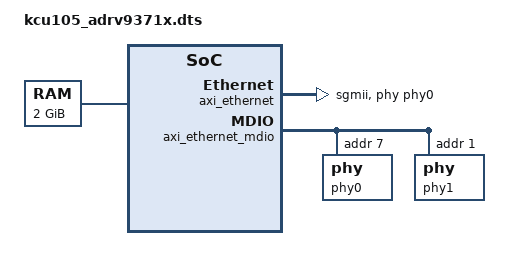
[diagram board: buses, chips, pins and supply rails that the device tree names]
/dts-v1/;
/include/ "kcu105_adrv9371x_pl.dtsi"

/ {
	chosen {
		bootargs = "console=ttyUL0,115200";
		linux,stdout-path = &axi_uart;
		stdout-path = &axi_uart;
	};
	aliases {
		ethernet0 = &axi_ethernet;
		i2c0 = &axi_iic_main;
		serial0 = &axi_uart;
		serial1 = &sys_mb_debug;
		fmc_spi = &axi_spi;
	};
	memory {
		device_type = "memory";
		reg = <0x80000000 0x80000000>;
	};
};

&axi_ethernet {
	local-mac-address = [00 0a 35 00 00 01];
	phy-handle = <&phy0 &phy1>;
	phy-mode = "sgmii";
};

&axi_ethernet_mdio {
	phy0: phy@7 {
		device_type = "ethernet-phy";
		reg = <7>;
	};
	phy1: phy@1 {
		device_type = "ethernet-phy";
		reg = <1>;
	};
};

&axi_ad9371_core_rx {
	dmas = <&rx_dma 0>;
	dma-names = "rx";
	spibus-connected = <&trx0_ad9371>;
};
&axi_ad9371_core_rx_obs {
	dmas = <&rx_obs_dma 0>;
	dma-names = "rx";
	clocks = <&trx0_ad9371 1>;
	clock-names = "sampl_clk";
};
&axi_ad9371_core_tx {
	dmas = <&tx_dma 0>;
	dma-names = "tx";
	clocks = <&trx0_ad9371 2>;
	clock-names = "sampl_clk";
	spibus-connected = <&trx0_ad9371>;
	adi,axi-pl-fifo-enable;
};
&rx_dma {
	#dma-cells = <1>;
	clocks = <&clk_bus_0>;
	dma-channel {
		adi,buswidth = <64>;
		adi,type = <0>;
	};
};
&rx_obs_dma  {
	#dma-cells = <1>;
	clocks = <&clk_bus_0>;
	dma-channel {
		adi,buswidth = <64>;
		adi,type = <0>;
	};
};
&tx_dma {
	#dma-cells = <1>;
	clocks = <&clk_bus_0>;
	dma-channel {
		adi,buswidth = <128>;
		adi,type = <1>;
		adi,cyclic;
	};
};
&axi_rx_clkgen {
	#clock-cells = <0>;
	clocks = <&clk0_ad9528 1>;
	clock-output-names = "axi_rx_clkgen";
};
&axi_rx_os_clkgen {
	#clock-cells = <0>;
	clocks = <&clk0_ad9528 1>;
	clock-output-names = "axi_rx_os_clkgen";
};
&axi_tx_clkgen {
	#clock-cells = <0>;
	clocks = <&clk0_ad9528 1>;
	clock-output-names = "axi_tx_clkgen";
};
&axi_ad9371_adxcvr_rx {
	clocks = <&clk0_ad9528 1>, <&axi_rx_clkgen 0>;
	clock-names = "conv", "div40";
	#clock-cells = <1>;
	clock-output-names = "rx_gt_clk", "rx_out_clk";
	adi,sys-clk-select = <0>;
	adi,out-clk-select = <3>;
	adi,use-lpm-enable;
	adi,use-cpll-enable;
};
&axi_ad9371_adxcvr_rx_os {
	clocks = <&clk0_ad9528 1>, <&axi_rx_os_clkgen>;
	clock-names = "conv", "div40";
	#clock-cells = <1>;
	clock-output-names = "rx_os_gt_clk", "rx_os_out_clk";
	adi,sys-clk-select = <0>;
	adi,out-clk-select = <3>;
	adi,use-lpm-enable;
	adi,use-cpll-enable;
};
&axi_ad9371_adxcvr_tx {
	clocks = <&clk0_ad9528 1>, <&axi_tx_clkgen>;
	clock-names = "conv", "div40";
	#clock-cells = <1>;
	clock-output-names = "tx_gt_clk", "tx_out_clk";
	adi,sys-clk-select = <3>;
	adi,out-clk-select = <3>;
};
&axi_ad9371_rx_jesd {
	clocks = <&clk_bus_0>, <&axi_rx_clkgen>, <&axi_ad9371_adxcvr_rx 0>;
	clock-names = "s_axi_aclk", "device_clk", "lane_clk";
	#clock-cells = <0>;
	clock-output-names = "jesd_rx_lane_clk";
	adi,octets-per-frame = <4>;
	adi,frames-per-multiframe = <32>;
};
&axi_ad9371_rx_os_jesd {
	clocks = <&clk_bus_0>, <&axi_rx_os_clkgen>, <&axi_ad9371_adxcvr_rx_os 0>;
	clock-names = "s_axi_aclk", "device_clk", "lane_clk";
	#clock-cells = <0>;
	clock-output-names = "jesd_rx_os_lane_clk";
	adi,octets-per-frame = <2>;
	adi,frames-per-multiframe = <32>;
};
&axi_ad9371_tx_jesd {
	clocks = <&clk_bus_0>, <&axi_tx_clkgen>, <&axi_ad9371_adxcvr_tx 0>;
	clock-names = "s_axi_aclk", "device_clk", "lane_clk";
	#clock-cells = <0>;
	clock-output-names = "jesd_tx_lane_clk";
	adi,octets-per-frame = <2>;
	adi,frames-per-multiframe = <32>;
	adi,converter-resolution = <14>;
	adi,bits-per-sample = <16>;
	adi,converters-per-device = <4>;
	adi,control-bits-per-sample = <2>;
};

#define fmc_spi axi_spi
#include "adi-adrv9371.dtsi"

// ad9371_dac_fifo_bypass_s 60
// ad9528_reset_b,       // 59
// ad9528_sysref_req,    // 58
// ad9371_tx1_enable,    // 57
// ad9371_tx2_enable,    // 56
// ad9371_rx1_enable,    // 55
// ad9371_rx2_enable,    // 54
// ad9371_test,          // 53
// ad9371_reset_b,       // 52
// ad9371_gpint,         // 51
// ad9371_gpio_00,       // 50
// ad9371_gpio_01,       // 49
// ad9371_gpio_02,       // 48
// ad9371_gpio_03,       // 47
// ad9371_gpio_04,       // 46
// ad9371_gpio_05,       // 45
// ad9371_gpio_06,       // 44
// ad9371_gpio_07,       // 43
// ad9371_gpio_15,       // 42
// ad9371_gpio_08,       // 41
// ad9371_gpio_09,       // 40
// ad9371_gpio_10,       // 39
// ad9371_gpio_11,       // 38
// ad9371_gpio_12,       // 37
// ad9371_gpio_14,       // 36
// ad9371_gpio_13,       // 35
// ad9371_gpio_17,       // 34
// ad9371_gpio_16,       // 33
// ad9371_gpio_18}));    // 32

&trx0_ad9371 {
	reset-gpios = <&axi_gpio 52 0>;
	test-gpios = <&axi_gpio 53 0>;
	sysref_req-gpios = <&axi_gpio 58 0>;
	rx2_enable-gpios = <&axi_gpio 54 0>;
	rx1_enable-gpios = <&axi_gpio 55 0>;
	tx2_enable-gpios = <&axi_gpio 56 0>;
	tx1_enable-gpios = <&axi_gpio 57 0>;
};

&clk0_ad9528 {
	reset-gpios = <&axi_gpio 59 0>;
};

&axi_ad9371_core_tx {
	plddrbypass-gpios = <&axi_gpio 60 0>;
};

